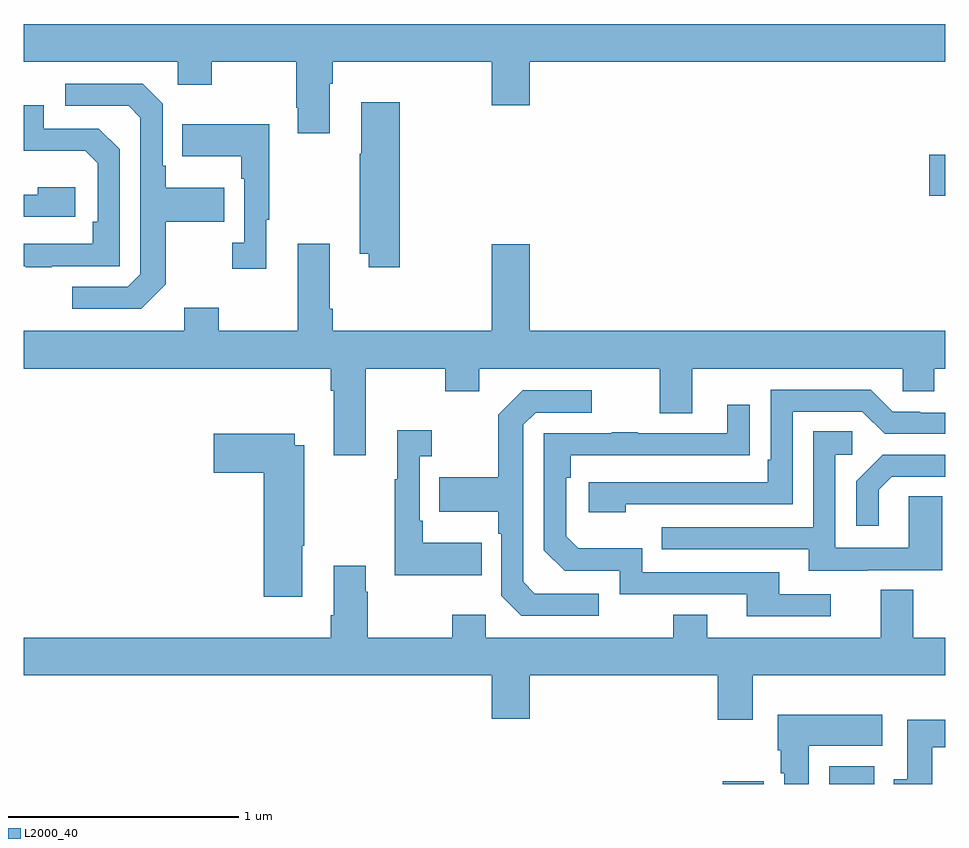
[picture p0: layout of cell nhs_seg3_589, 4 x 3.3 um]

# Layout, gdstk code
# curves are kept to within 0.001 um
import gdstk
lib = gdstk.Library(unit=1e-6, precision=1e-09)
def R(c, l, rs):  # rectangles x0, y0, x1, y1
    for r in rs: c.add(gdstk.rectangle(r[:2], r[2:], *l))
def P(c, l, *ps):  # polygons
    for p in ps: c.add(gdstk.Polygon(p, *l))
L2000_40 = (2000, 40)

nhs_seg3_589 = lib.new_cell('nhs_seg3_589')
R(nhs_seg3_589, L2000_40, [(142.034,744.4,142.213,744.412), (142.496,744.4,142.693,744.478), (142.932,746.954,143,747.132)])
P(nhs_seg3_589, L2000_40, [(140.329,747.44),(140.342,747.44),(140.342,747.536),(141.032,747.536),(141.032,747.348),(141.196,747.348),(141.196,747.536),(143,747.536),(143,747.7),(139,747.7),(139,747.536),(139.668,747.536),(139.668,747.437),(139.815,747.437),(139.815,747.536),(140.182,747.536),(140.182,747.337),(140.189,747.337),(140.189,747.225),(140.329,747.225)],
  [(139.615,746.569),(139.615,746.842),(139.871,746.842),(139.871,746.989),(139.615,746.989),(139.615,747.085),(139.602,747.085),(139.602,747.354),(139.515,747.441),(139.179,747.441),(139.179,747.345),(139.455,747.345),(139.506,747.294),(139.506,746.613),(139.452,746.559),(139.209,746.559),(139.209,746.463),(139.509,746.463)],
  [(140.633,747.361),(140.465,747.361),(140.465,747.137),(140.458,747.137),(140.458,746.702),(140.498,746.702),(140.498,746.643),(140.633,746.643)],
  [(139.121,746.649),(139.416,746.649),(139.416,747.156),(139.326,747.246),(139.086,747.246),(139.086,747.348),(139,747.348),(139,747.149),(139.267,747.149),(139.32,747.096),(139.32,746.842),(139.3,746.842),(139.3,746.745),(139,746.745),(139,746.649),(139.009,746.649),(139.009,746.644),(139.121,746.644)],
  [(140.053,746.849),(140.065,746.849),(140.065,747.265),(139.687,747.265),(139.687,747.125),(139.944,747.125),(139.944,747.029),(139.956,747.029),(139.956,746.75),(139.905,746.75),(139.905,746.637),(140.053,746.637)],
  [(139.222,746.992),(139.061,746.992),(139.061,746.958),(139,746.958),(139,746.862),(139.222,746.862)],
  [(140.485,746.204),(140.83,746.204),(140.83,746.105),(140.977,746.105),(140.977,746.204),(141.761,746.204),(141.761,746.01),(141.901,746.01),(141.901,746.204),(142.815,746.204),(142.815,746.106),(142.953,746.106),(142.953,746.204),(143,746.204),(143,746.368),(141.196,746.368),(141.196,746.743),(141.032,746.743),(141.032,746.368),(140.342,746.368),(140.342,746.464),(140.329,746.464),(140.329,746.746),(140.189,746.746),(140.189,746.368),(139.845,746.368),(139.845,746.467),(139.697,746.467),(139.697,746.368),(139,746.368),(139,746.204),(140.333,746.204),(140.333,746.108),(140.345,746.108),(140.345,745.827),(140.485,745.827)],
  [(141.614,745.614),(142.338,745.614),(142.338,746.016),(142.641,746.016),(142.737,745.92),(143,745.92),(143,746.013),(142.892,746.013),(142.892,746.016),(142.773,746.016),(142.677,746.112),(142.242,746.112),(142.242,745.807),(142.229,745.807),(142.229,745.71),(141.453,745.71),(141.453,745.58),(141.614,745.58)],
  [(141.496,745.227),(141.219,745.227),(141.168,745.278),(141.168,745.959),(141.222,746.013),(141.466,746.013),(141.466,746.109),(141.165,746.109),(141.06,746.003),(141.06,745.731),(140.803,745.731),(140.803,745.583),(141.06,745.583),(141.06,745.487),(141.072,745.487),(141.072,745.218),(141.159,745.131),(141.496,745.131)],
  [(142.504,745.224),(142.279,745.224),(142.279,745.32),(141.684,745.32),(141.684,745.423),(141.407,745.423),(141.354,745.476),(141.354,745.73),(141.374,745.73),(141.374,745.827),(142.151,745.828),(142.151,746.047),(142.055,746.047),(142.055,745.923),(141.665,745.923),(141.665,745.928),(141.553,745.928),(141.553,745.923),(141.258,745.923),(141.258,745.416),(141.348,745.326),(141.588,745.326),(141.588,745.224),(142.139,745.224),(142.139,745.128),(142.504,745.128)],
  [(140.987,745.447),(140.731,745.447),(140.731,745.543),(140.718,745.543),(140.718,745.823),(140.77,745.823),(140.77,745.936),(140.621,745.936),(140.621,745.723),(140.61,745.723),(140.61,745.307),(140.987,745.307)],
  [(142.663,745.329),(142.987,745.329),(142.987,745.649),(142.842,745.649),(142.842,745.425),(142.524,745.425),(142.524,745.83),(142.597,745.83),(142.597,745.931),(142.428,745.931),(142.428,745.515),(141.769,745.515),(141.769,745.419),(142.409,745.419),(142.409,745.325),(142.663,745.325)],
  [(140.209,745.435),(140.217,745.435),(140.217,745.87),(140.176,745.87),(140.176,745.921),(139.824,745.921),(139.824,745.751),(140.042,745.751),(140.042,745.212),(140.209,745.212)],
  [(142.711,745.677),(142.768,745.734),(143,745.734),(143,745.83),(142.73,745.83),(142.614,745.714),(142.614,745.521),(142.711,745.521)],
  [(142.165,744.872),(143,744.872),(143,745.036),(142.861,745.036),(142.861,745.244),(142.721,745.244),(142.721,745.036),(141.967,745.036),(141.967,745.135),(141.82,745.135),(141.82,745.036),(141.006,745.036),(141.006,745.135),(140.86,745.135),(140.86,745.036),(140.493,745.036),(140.493,745.235),(140.485,745.235),(140.485,745.348),(140.345,745.348),(140.345,745.132),(140.333,745.132),(140.333,745.036),(139,745.036),(139,744.872),(141.032,744.872),(141.032,744.684),(141.196,744.684),(141.196,744.872),(142.013,744.872),(142.013,744.678),(142.165,744.678)],
  [(142.408,744.566),(142.726,744.566),(142.726,744.7),(142.274,744.7),(142.274,744.546),(142.286,744.546),(142.286,744.446),(142.301,744.446),(142.301,744.4),(142.408,744.4)],
  [(142.945,744.56),(143,744.56),(143,744.679),(142.835,744.679),(142.835,744.42),(142.778,744.42),(142.778,744.4),(142.945,744.4)])

lib.write_gds('nhs_seg3_589.gds')
